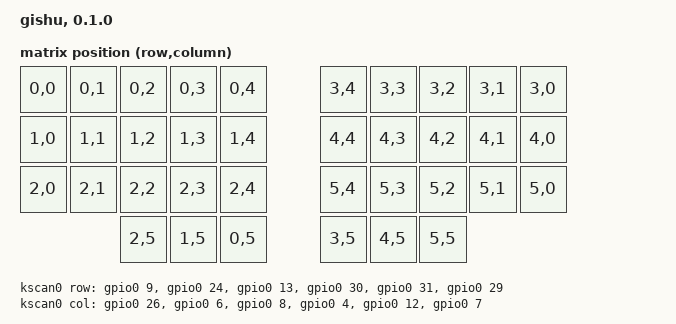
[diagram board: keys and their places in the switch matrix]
/dts-v1/;
#include <nordic/nrf52840_qiaa.dtsi>
#include <dt-bindings/zmk/matrix_transform.h>
#include <dt-bindings/led/led.h>
#include <dt-bindings/gpio/gpio.h>

/ {
    model = "gishu, 0.1.0";
    compatible = "gishu,0.1.0";

    chosen {
        zephyr,code-partition = &code_partition;
        zephyr,sram = &sram0;
        zephyr,flash = &flash0;
        zmk,kscan = &kscan0;
        zmk,matrix_transform = &default_transform;
        zmk,battery = &vbatt;
        zmk,indicator_strip = &led_strip;
    };

    default_transform: keymap_transform_0 {
        compatible = "zmk,matrix-transform";
        columns = <6>;
        rows = <6>;
        map = <
            RC(0,0) RC(0,1) RC(0,2) RC(0,3) RC(0,4)    RC(3,4) RC(3,3) RC(3,2) RC(3,1) RC(3,0) 
            RC(1,0) RC(1,1) RC(1,2) RC(1,3) RC(1,4)    RC(4,4) RC(4,3) RC(4,2) RC(4,1) RC(4,0) 
            RC(2,0) RC(2,1) RC(2,2) RC(2,3) RC(2,4)    RC(5,4) RC(5,3) RC(5,2) RC(5,1) RC(5,0) 
                            RC(2,5) RC(1,5) RC(0,5)    RC(3,5) RC(4,5) RC(5,5)
            >;
    };

 
    kscan0: kscan {
        compatible = "zmk,kscan-gpio-matrix";
        diode-direction = "col2row";
        wakeup-source;

        row-gpios
            = <&gpio0  9 (GPIO_ACTIVE_HIGH | GPIO_PULL_DOWN)>
            , <&gpio0 24 (GPIO_ACTIVE_HIGH | GPIO_PULL_DOWN)>
            , <&gpio0 13 (GPIO_ACTIVE_HIGH | GPIO_PULL_DOWN)>
            , <&gpio0 30 (GPIO_ACTIVE_HIGH | GPIO_PULL_DOWN)>
            , <&gpio0 31 (GPIO_ACTIVE_HIGH | GPIO_PULL_DOWN)>
            , <&gpio0 29 (GPIO_ACTIVE_HIGH | GPIO_PULL_DOWN)>
            ;
        col-gpios
            = <&gpio0 26 GPIO_ACTIVE_HIGH>
            , <&gpio0  6 GPIO_ACTIVE_HIGH>
            , <&gpio0  8 GPIO_ACTIVE_HIGH>
            , <&gpio0  4 GPIO_ACTIVE_HIGH>
            , <&gpio0 12 GPIO_ACTIVE_HIGH>
            , <&gpio0  7 GPIO_ACTIVE_HIGH>
            ;
    };

    vbatt: vbatt {
        compatible = "zmk,battery-nrf-vddh";
    };

    // Needs to be all caps for some reason
    EXT_POWER {
        compatible = "zmk,ext-power-generic";
        control-gpios = <&gpio0 3 (GPIO_ACTIVE_HIGH | GPIO_PULL_DOWN)>;
        init-delay-ms = <100>;
    };
};

&pinctrl {
    spi3_default: spi3_default {
        group1 {
            psels = <NRF_PSEL(SPIM_MOSI, 1, 9)>;
        };
    };

    spi3_sleep: spi3_sleep {
        group1 {
            psels = <NRF_PSEL(SPIM_MOSI, 1, 9)>;
            low-power-enable;
        };
    };
};

&spi3 {
    compatible = "nordic,nrf-spim";
    status = "okay";

    pinctrl-0 = <&spi3_default>;
    pinctrl-1 = <&spi3_sleep>;
    pinctrl-names = "default", "sleep";

    led_strip: ws2812@0 {
        compatible = "worldsemi,ws2812-spi";

        /* SPI */
        reg = <0>; /* ignored, but necessary for SPI bindings */
        spi-max-frequency = <4000000>;

        /* WS2812 */
        chain-length = <14>; /* number of LEDs */
        spi-one-frame = <0x70>;
        spi-zero-frame = <0x40>;
        color-mapping = <LED_COLOR_ID_GREEN
                         LED_COLOR_ID_RED
                         LED_COLOR_ID_BLUE>;
    };
};

&adc {
    status = "okay";
};

&gpiote {
    status = "okay";
};

&gpio0 {
    status = "okay";
};

&gpio1 {
    status = "okay";
};

zephyr_udc0: &usbd {
    status = "okay";
};

&flash0 {
    /*
     * For more information, see:
     * http://docs.zephyrproject.org/latest/devices/dts/flash_partitions.html
     */
    partitions {
        compatible = "fixed-partitions";
        #address-cells = <1>;
        #size-cells = <1>;

        sd_partition: partition@0 {
            label = "softdevice";
            reg = <0x00000000 0x00026000>;
        };
        code_partition: partition@26000 {
            label = "code_partition";
            reg = <0x00026000 0x000c6000>;
        };

        /*
         * The flash starting at 0x000ec000 and ending at
         * 0x000f3fff is reserved for use by the application.
         */

        /*
         * Storage partition will be used by FCB/LittleFS/NVS
         * if enabled.
         */
        storage_partition: partition@ec000 {
            label = "storage";
            reg = <0x000ec000 0x00008000>;
        };

        boot_partition: partition@f4000 {
            label = "boot";
            reg = <0x000f4000 0x0000c000>;
        };
    };
};
